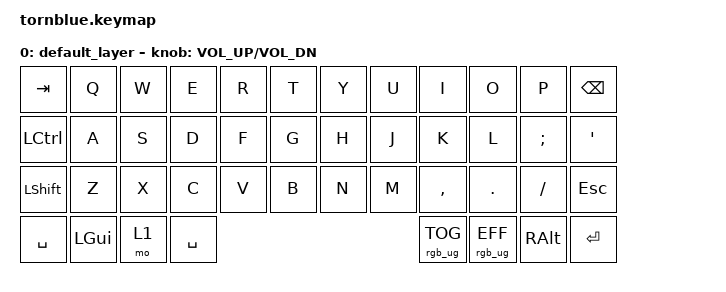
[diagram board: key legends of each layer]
/*
 * Copyright (c) 2021 Richard Titmuss
 *
 * SPDX-License-Identifier: MIT
 */

#include <behaviors.dtsi>
#include <dt-bindings/zmk/keys.h>
#include <dt-bindings/zmk/ext_power.h>
#include <dt-bindings/zmk/bt.h>
#include <dt-bindings/zmk/rgb.h>

#define DEFAULT 0
#define NAVI    1

/ {
    keymap {
        compatible = "zmk,keymap";

        default_layer {
// -----------------------------------------------------------------------------------------
// |  TAB |  Q  |  W  |  E  |  R  |  T  |   |  Y  |  U   |  I  |  O  |  P  | BKSP |
// | CTRL |  A  |  S  |  D  |  F  |  G  |   |  H  |  J   |  K  |  L  |  ;  |  '   |
// | SHFT |  Z  |  X  |  C  |  V  |  B  |   |  N  |  M   |  ,  |  .  |  /  | ESC  |
//              | SPC | GUI | LWR | SPC |   | ENT | RSE  | ALT | ENT |
                        bindings = <
   &kp TAB   &kp Q &kp W &kp E &kp R &kp T   &kp Y &kp U  &kp I     &kp O   &kp P    &kp BSPC
   &kp LCTRL &kp A &kp S &kp D &kp F &kp G   &kp H &kp J  &kp K     &kp L   &kp SEMI &kp SQT
   &kp LSHFT &kp Z &kp X &kp C &kp V &kp B   &kp N &kp M  &kp COMMA &kp DOT &kp FSLH &kp ESC
        &kp SPACE &kp LGUI &mo 1 &kp SPACE   &rgb_ug RGB_TOG &rgb_ug RGB_EFF &kp RALT &kp RET
                        >;

            sensor-bindings = <&inc_dec_kp C_VOL_UP C_VOL_DN>;
        };
    };

};
